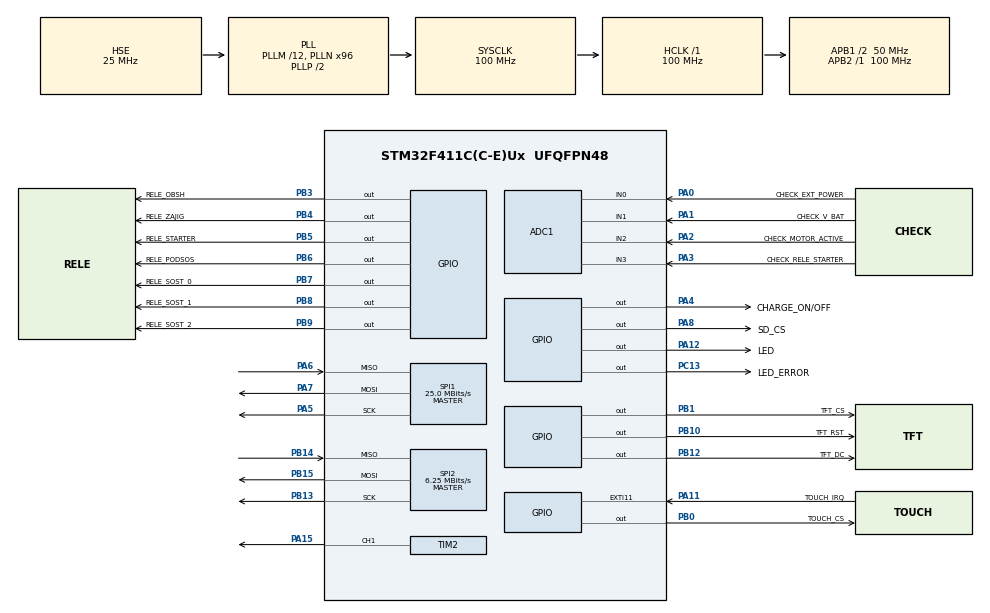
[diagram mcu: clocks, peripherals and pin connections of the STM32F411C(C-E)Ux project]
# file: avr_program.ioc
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ADC1.Channel-0\#ChannelRegularConversion=ADC_CHANNEL_0
ADC1.Channel-1\#ChannelRegularConversion=ADC_CHANNEL_1
ADC1.Channel-2\#ChannelRegularConversion=ADC_CHANNEL_2
ADC1.Channel-3\#ChannelRegularConversion=ADC_CHANNEL_3
ADC1.Channel-4\#ChannelRegularConversion=ADC_CHANNEL_TEMPSENSOR
ADC1.Channel-5\#ChannelRegularConversion=ADC_CHANNEL_VREFINT
ADC1.ContinuousConvMode=DISABLE
ADC1.InjNumberOfConversion=0
ADC1.NbrOfConversion=6
ADC1.NbrOfConversionFlag=1
ADC1.Rank-0\#ChannelRegularConversion=1
ADC1.Rank-1\#ChannelRegularConversion=2
ADC1.Rank-2\#ChannelRegularConversion=3
ADC1.Rank-3\#ChannelRegularConversion=4
ADC1.Rank-4\#ChannelRegularConversion=5
ADC1.Rank-5\#ChannelRegularConversion=6
ADC1.SamplingTime-0\#ChannelRegularConversion=ADC_SAMPLETIME_28CYCLES
ADC1.SamplingTime-1\#ChannelRegularConversion=ADC_SAMPLETIME_28CYCLES
ADC1.SamplingTime-2\#ChannelRegularConversion=ADC_SAMPLETIME_28CYCLES
ADC1.SamplingTime-3\#ChannelRegularConversion=ADC_SAMPLETIME_28CYCLES
ADC1.SamplingTime-4\#ChannelRegularConversion=ADC_SAMPLETIME_144CYCLES
ADC1.SamplingTime-5\#ChannelRegularConversion=ADC_SAMPLETIME_144CYCLES
ADC1.master=1
Dma.ADC1.0.Direction=DMA_PERIPH_TO_MEMORY
Dma.ADC1.0.FIFOMode=DMA_FIFOMODE_DISABLE
Dma.ADC1.0.Instance=DMA2_Stream0
Dma.ADC1.0.MemDataAlignment=DMA_MDATAALIGN_HALFWORD
Dma.ADC1.0.MemInc=DMA_MINC_ENABLE
Dma.ADC1.0.Mode=DMA_NORMAL
Dma.ADC1.0.PeriphDataAlignment=DMA_PDATAALIGN_HALFWORD
Dma.ADC1.0.PeriphInc=DMA_PINC_DISABLE
Dma.ADC1.0.Priority=DMA_PRIORITY_LOW
Dma.Request0=ADC1
FATFS._MAX_SS=4096
FATFS._USE_LFN=1
IWDG.Prescaler=IWDG_PRESCALER_256
IWDG.Reload=250
Mcu.Family=STM32F4
Mcu.Name=STM32F411C(C-E)Ux
Mcu.Package=UFQFPN48
NVIC.DMA2_Stream0_IRQn=true\:0\:0\:false\:false\:true\:false\:true
NVIC.EXTI15_10_IRQn=true\:3\:0\:true\:false\:true\:true\:true
NVIC.PriorityGroup=NVIC_PRIORITYGROUP_4
NVIC.RTC_Alarm_IRQn=true\:2\:0\:true\:false\:true\:true\:true
NVIC.RTC_WKUP_IRQn=true\:1\:0\:true\:false\:true\:true\:true
PA0-WKUP.GPIO_Label=CHECK_EXT_POWER
PA0-WKUP.Signal=SharedAnalog_PA0
PA1.GPIO_Label=CHECK_V_BAT
PA1.Signal=SharedAnalog_PA1
PA10.Signal=USART1_RX
PA11.GPIO_Label=TOUCH_IRQ
PA11.GPIO_ModeDefaultEXTI=GPIO_MODE_IT_RISING_FALLING
PA11.GPIO_PuPd=GPIO_PULLUP
PA11.Signal=GPXTI11
PA12.GPIO_Label=LED
PA12.Signal=GPIO_Output
PA13.Signal=SYS_JTMS-SWDIO
PA14.Signal=SYS_JTCK-SWCLK
PA15.Signal=S_TIM2_CH1_ETR
PA2.GPIO_Label=CHECK_MOTOR_ACTIVE
PA2.Signal=SharedAnalog_PA2
PA3.GPIO_Label=CHECK_RELE_STARTER
PA3.Signal=SharedAnalog_PA3
PA4.GPIO_Label=CHARGE_ON/OFF
PA4.Signal=GPIO_Output
PA5.Mode=Full_Duplex_Master
PA5.Signal=SPI1_SCK
PA6.Mode=Full_Duplex_Master
PA6.Signal=SPI1_MISO
PA7.Mode=Full_Duplex_Master
PA7.Signal=SPI1_MOSI
PA8.GPIO_Label=SD_CS
PA8.Signal=GPIO_Output
PA9.Signal=USART1_TX
PB0.GPIO_Label=TOUCH_CS
PB0.Signal=GPIO_Output
PB1.GPIO_Label=TFT_CS
PB1.Signal=GPIO_Output
PB10.GPIO_Label=TFT_RST
PB10.Signal=GPIO_Output
PB12.GPIO_Label=TFT_DC
PB12.Signal=GPIO_Output
PB13.Mode=Full_Duplex_Master
PB13.Signal=SPI2_SCK
PB14.Mode=Full_Duplex_Master
PB14.Signal=SPI2_MISO
PB15.Mode=Full_Duplex_Master
PB15.Signal=SPI2_MOSI
PB3.GPIO_Label=RELE_OBSH
PB3.Signal=GPIO_Output
PB4.GPIO_Label=RELE_ZAJIG
PB4.Signal=GPIO_Output
PB5.GPIO_Label=RELE_STARTER
PB5.Signal=GPIO_Output
PB6.GPIO_Label=RELE_PODSOS
PB6.Signal=GPIO_Output
PB7.GPIO_Label=RELE_SOST_0
PB7.Signal=GPIO_Output
PB8.GPIO_Label=RELE_SOST_1
PB8.Signal=GPIO_Output
PB9.GPIO_Label=RELE_SOST_2
PB9.Signal=GPIO_Output
PC13-ANTI_TAMP.GPIO_Label=LED_ERROR
PC13-ANTI_TAMP.Signal=GPIO_Output
PC14-OSC32_IN.Mode=LSE-External-Oscillator
PC14-OSC32_IN.Signal=RCC_OSC32_IN
PC15-OSC32_OUT.Mode=LSE-External-Oscillator
PC15-OSC32_OUT.Signal=RCC_OSC32_OUT
PH0\ -\ OSC_IN.Mode=HSE-External-Oscillator
PH0\ -\ OSC_IN.Signal=RCC_OSC_IN
PH1\ -\ OSC_OUT.Mode=HSE-External-Oscillator
PH1\ -\ OSC_OUT.Signal=RCC_OSC_OUT
ProjectManager.HeapSize=0x200
ProjectManager.StackSize=0x400
ProjectManager.TargetToolchain=MDK-ARM V5.27
RCC.48MHZClocksFreq_Value=50000000
RCC.AHBFreq_Value=100000000
RCC.APB1CLKDivider=RCC_HCLK_DIV2
RCC.APB1Freq_Value=50000000
RCC.APB1TimFreq_Value=100000000
RCC.APB2Freq_Value=100000000
RCC.APB2TimFreq_Value=100000000
RCC.CortexFreq_Value=100000000
RCC.HCLKFreq_Value=100000000
RCC.HSE_VALUE=25000000
RCC.HSI_VALUE=16000000
RCC.PLLM=12
RCC.PLLN=96
RCC.PLLSourceVirtual=RCC_PLLSOURCE_HSE
RCC.RCC_RTC_Clock_Source=RCC_RTCCLKSOURCE_LSE
RCC.RCC_RTC_Clock_SourceVirtual=RCC_RTCCLKSOURCE_LSE
RCC.SYSCLKFreq_VALUE=100000000
RCC.SYSCLKSource=RCC_SYSCLKSOURCE_PLLCLK
RCC.VCOOutputFreq_Value=200000000
RTC.Alarm=RTC_ALARM_A
RTC.AlarmDateWeekDaySel=RTC_ALARMDATEWEEKDAYSEL_WEEKDAY
RTC.AlarmMaskDateWeekDay=RTC_ALARMMASK_DATEWEEKDAY
RTC.AlarmSubSecondMask=RTC_ALARMSUBSECONDMASK_ALL
RTC.Format=RTC_FORMAT_BIN
RTC.Hours=12
RTC.Month=RTC_MONTH_SEPTEMBER
RTC.WakeUpClock=RTC_WAKEUPCLOCK_CK_SPRE_16BITS
RTC.WakeUpCounter=28
RTC.WeekDay=RTC_WEEKDAY_TUESDAY
RTC.Year=26
SH.S_TIM2_CH1_ETR.0=TIM2_CH1,PWM Generation1 CH1
SH.SharedAnalog_PA0.0=GPIO_Analog
SH.SharedAnalog_PA0.1=ADC1_IN0,IN0
SH.SharedAnalog_PA1.0=GPIO_Analog
SH.SharedAnalog_PA1.1=ADC1_IN1,IN1
SH.SharedAnalog_PA2.0=GPIO_Analog
SH.SharedAnalog_PA2.1=ADC1_IN2,IN2
SH.SharedAnalog_PA3.0=GPIO_Analog
SH.SharedAnalog_PA3.1=ADC1_IN3,IN3
SPI1.BaudRatePrescaler=SPI_BAUDRATEPRESCALER_4
SPI1.CalculateBaudRate=25.0 MBits/s
SPI1.Direction=SPI_DIRECTION_2LINES
SPI1.Mode=SPI_MODE_MASTER
SPI1.VirtualType=VM_MASTER
SPI2.BaudRatePrescaler=SPI_BAUDRATEPRESCALER_8
SPI2.CalculateBaudRate=6.25 MBits/s
SPI2.Direction=SPI_DIRECTION_2LINES
SPI2.Mode=SPI_MODE_MASTER
SPI2.VirtualType=VM_MASTER
TIM2.Channel-PWM\ Generation1\ CH1=TIM_CHANNEL_1
TIM2.OCPolarity_1=TIM_OCPOLARITY_LOW
TIM2.Period=1000
TIM2.Prescaler=50000
VP_ADC1_TempSens_Input.Mode=IN-TempSens
VP_ADC1_Vref_Input.Mode=IN-Vrefint
VP_FATFS_VS_Generic.Mode=User_defined
VP_IWDG_VS_IWDG.Mode=IWDG_Activate
VP_RTC_VS_RTC_Activate.Mode=RTC_Enabled
VP_RTC_VS_RTC_Alarm_A_Intern.Mode=Alarm A
VP_RTC_VS_RTC_Calendar.Mode=RTC_Calendar
VP_RTC_VS_RTC_WakeUp_intern.Mode=WakeUp
board=custom

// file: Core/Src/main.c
/* USER CODE BEGIN Header */
/**
  ******************************************************************************
  * @file           : main.c
  * @brief          : Main program body
  ******************************************************************************
  * @attention
  *
  * <h2><center>&copy; Copyright (c) 2026 STMicroelectronics.
  * All rights reserved.</center></h2>
  *
  * This software component is licensed by ST under BSD 3-Clause license,
  * the "License"; You may not use this file except in compliance with the
  * License. You may obtain a copy of the License at:
  *                        opensource.org/licenses/BSD-3-Clause
  *
  ******************************************************************************
  */
/* USER CODE END Header */
#include "main.h"
#include "fatfs.h"

/* USER CODE BEGIN Includes */
#include <stdio.h>
/* USER CODE END Includes */

/* USER CODE BEGIN PTD */
typedef struct
{
	volatile uint32_t r0;
	volatile uint32_t r1;
	volatile uint32_t r2;
	volatile uint32_t r3;
	volatile uint32_t r12;
	volatile uint32_t lr; /* Link register. */
	volatile uint32_t pc; /* Program counter. */
	volatile uint32_t psr;/* Program status register. */
}stack_bit; // (SP)

stack_bit stack = {0, };
/* USER CODE END PTD */

ADC_HandleTypeDef hadc1;
DMA_HandleTypeDef hdma_adc1;

IWDG_HandleTypeDef hiwdg;

RTC_HandleTypeDef hrtc;

SPI_HandleTypeDef hspi1;
SPI_HandleTypeDef hspi2;

TIM_HandleTypeDef htim2;

/* USER CODE BEGIN PV */

RTC_TimeTypeDef sTime = {0};
RTC_DateTypeDef DateToUpdate = {0};

Device_Type AVR;     // прибор с его характеристиками и параметрами
struct Device_Type *pAVR = &AVR;

/* USER CODE END PV */

void SystemClock_Config(void);
static void MX_GPIO_Init(void);
static void MX_DMA_Init(void);
static void MX_ADC1_Init(void);
static void MX_SPI1_Init(void);
static void MX_SPI2_Init(void);
static void MX_TIM2_Init(void);
static void MX_RTC_Init(void);
static void MX_IWDG_Init(void);

int main(void)
{

  /* MCU Configuration--------------------------------------------------------*/

  /* Reset of all peripherals, Initializes the Flash interface and the Systick. */
  HAL_Init();

  /* Configure the system clock */
  SystemClock_Config();

  /* Initialize all configured peripherals */
  MX_GPIO_Init();
  MX_DMA_Init();
  MX_ADC1_Init();
  MX_SPI1_Init();
  MX_SPI2_Init();
  MX_TIM2_Init();
  MX_RTC_Init();
  MX_FATFS_Init();
  MX_IWDG_Init();
  /* USER CODE BEGIN 2 */

	initDevice();

	// небольшая пауза на случай показа ошибки
	IWDG->KR = 0xAAAA;
	HAL_Delay(1000);
	IWDG->KR = 0xAAAA;
	HAL_Delay(1000);
	IWDG->KR = 0xAAAA;
	HAL_Delay(500);
	IWDG->KR = 0xAAAA;

  /* USER CODE END 2 */

  /* Infinite loop */
  /* USER CODE BEGIN WHILE */
	extern time_t powerOutageTime;	// время отключения эл-ва
  while (1)
  {
		work();

		//HAL_IWDG_Refresh(&hiwdg);	// отмена ресета
		IWDG->KR = 0xAAAA;					// отмена ресета

		// если экран погашен и двигатель заглушен и не включена зарядка - сон на 28 сек
		// в ближайшее время после отключения не уснет
		if((BRIGHTNESS_GET_TFT == NULL_BRIGHTNESS) &&
				((pAVR->engine.status == ENGINE_STOPPED) || (pAVR->engine.status == ENGINE_TIMEOUT)) &&
				(!pAVR->avr_states.flagCharge) &&
				((realToUnix() - powerOutageTime) > (TIME_NO_EXT_POWER_ENGINE_OFF+2)))
		{
			// Если система выходит из режима Standby/Sleep по изменению на выводе WKUP (SYS_WKUP),
			// перед следующим входом в этот режим необходимо программно сбросить флаг PWR_FLAG_WU в регистре PWR_CSR.
			__HAL_PWR_CLEAR_FLAG(PWR_FLAG_WU);

			// Если пробуждение происходит по таймеру RTC, нужно сбросить флаг
			__HAL_RTC_WAKEUPTIMER_CLEAR_FLAG(&hrtc, RTC_FLAG_WUTF);

			// настройка WakeUp срабатывание раз в 28сек
			if(HAL_RTCEx_SetWakeUpTimer_IT(&hrtc, 28, RTC_WAKEUPCLOCK_CK_SPRE_16BITS) == HAL_OK)
			{
				IWDG->KR = 0xAAAA;
				#ifndef ___DEBUG
					// если низкий разряд акб - выключить светодиоды
					if(pAVR->v_t.v_bat <= U_AKB_MIN_1)
					{
						LED_OFF();
						LED_ERROR_OFF();

						// если нет внешнего питания и двигатель заглушен - выключить релюхи силового автомата
						if(pAVR->avr_states.extPowerSupply == EXT_POWER_OFF)
						{
							switchPowerCircuitBreaker(POWER_IS_OFF);
						}
					}

					// перенастройка вачдога на ~32 секунды
					IWDG_Reconfigure(6, 4095);

					// вход в сон
					__HAL_RCC_DMA2_CLK_DISABLE();
					__HAL_RCC_ADC1_CLK_DISABLE();
					__HAL_RCC_SPI1_CLK_DISABLE();

					// PWR_LOWPOWERREGULATOR_ON — регулятор напряжения работает в режиме пониженного энергопотребления, но возникает дополнительная задержка при выходе из режима.
					// PWR_MAINREGULATOR_ON — регулятор напряжения работает в обычном режиме. Потребление энергии увеличивается, но время выхода из режима сокращается.
					// PWR_SLEEPENTRY_WFI — (Wait for Interrupt) — выход из режима произойдёт при возникновении прерывания.
					// PWR_SLEEPENTRY_WFE — (Wait for Event) — выход из режима произойдёт при возникновении события.
					HAL_PWR_EnterSTOPMode(PWR_LOWPOWERREGULATOR_ON, PWR_STOPENTRY_WFI);
					// после wakeup'а программа стартует отсюда
					SystemClock_Config(); // рестартуем системный клок

					// обратная перенастройка вачдога на 2с
					IWDG_Reconfigure(6, 250);

					HAL_RTCEx_DeactivateWakeUpTimer(&hrtc);	// остановить WakeUp

					__HAL_RCC_DMA2_CLK_ENABLE();
					__HAL_RCC_ADC1_CLK_ENABLE();
					__HAL_RCC_SPI1_CLK_ENABLE();

				#endif
			}
		}

    /* USER CODE END WHILE */

  }
}

void SystemClock_Config(void)
{
  RCC_OscInitTypeDef RCC_OscInitStruct = {0};
  RCC_ClkInitTypeDef RCC_ClkInitStruct = {0};
  RCC_PeriphCLKInitTypeDef PeriphClkInitStruct = {0};

  /** Configure the main internal regulator output voltage
  */
  __HAL_RCC_PWR_CLK_ENABLE();
  __HAL_PWR_VOLTAGESCALING_CONFIG(PWR_REGULATOR_VOLTAGE_SCALE1);
  /** Initializes the RCC Oscillators according to the specified parameters
  * in the RCC_OscInitTypeDef structure.
  */
  RCC_OscInitStruct.OscillatorType = RCC_OSCILLATORTYPE_LSI|RCC_OSCILLATORTYPE_HSE
                              |RCC_OSCILLATORTYPE_LSE;
  RCC_OscInitStruct.HSEState = RCC_HSE_ON;
  RCC_OscInitStruct.LSEState = RCC_LSE_ON;
  RCC_OscInitStruct.LSIState = RCC_LSI_ON;
  RCC_OscInitStruct.PLL.PLLState = RCC_PLL_ON;
  RCC_OscInitStruct.PLL.PLLSource = RCC_PLLSOURCE_HSE;
  RCC_OscInitStruct.PLL.PLLM = 12;
  RCC_OscInitStruct.PLL.PLLN = 96;
  RCC_OscInitStruct.PLL.PLLP = RCC_PLLP_DIV2;
  RCC_OscInitStruct.PLL.PLLQ = 4;
  if (HAL_RCC_OscConfig(&RCC_OscInitStruct) != HAL_OK)
  {
    Error_Handler();
  }
  /** Initializes the CPU, AHB and APB buses clocks
  */
  RCC_ClkInitStruct.ClockType = RCC_CLOCKTYPE_HCLK|RCC_CLOCKTYPE_SYSCLK
                              |RCC_CLOCKTYPE_PCLK1|RCC_CLOCKTYPE_PCLK2;
  RCC_ClkInitStruct.SYSCLKSource = RCC_SYSCLKSOURCE_PLLCLK;
  RCC_ClkInitStruct.AHBCLKDivider = RCC_SYSCLK_DIV1;
  RCC_ClkInitStruct.APB1CLKDivider = RCC_HCLK_DIV2;
  RCC_ClkInitStruct.APB2CLKDivider = RCC_HCLK_DIV1;

  if (HAL_RCC_ClockConfig(&RCC_ClkInitStruct, FLASH_LATENCY_3) != HAL_OK)
  {
    Error_Handler();
  }
  PeriphClkInitStruct.PeriphClockSelection = RCC_PERIPHCLK_RTC;
  PeriphClkInitStruct.RTCClockSelection = RCC_RTCCLKSOURCE_LSE;
  if (HAL_RCCEx_PeriphCLKConfig(&PeriphClkInitStruct) != HAL_OK)
  {
    Error_Handler();
  }
}

static void MX_ADC1_Init(void)
{

  ADC_ChannelConfTypeDef sConfig = {0};

  /** Configure the global features of the ADC (Clock, Resolution, Data Alignment and number of conversion)
  */
  hadc1.Instance = ADC1;
  hadc1.Init.ClockPrescaler = ADC_CLOCK_SYNC_PCLK_DIV4;
  hadc1.Init.Resolution = ADC_RESOLUTION_12B;
  hadc1.Init.ScanConvMode = ENABLE;
  hadc1.Init.ContinuousConvMode = DISABLE;
  hadc1.Init.DiscontinuousConvMode = DISABLE;
  hadc1.Init.ExternalTrigConvEdge = ADC_EXTERNALTRIGCONVEDGE_NONE;
  hadc1.Init.ExternalTrigConv = ADC_SOFTWARE_START;
  hadc1.Init.DataAlign = ADC_DATAALIGN_RIGHT;
  hadc1.Init.NbrOfConversion = 6;
  hadc1.Init.DMAContinuousRequests = DISABLE;
  hadc1.Init.EOCSelection = ADC_EOC_SINGLE_CONV;
  if (HAL_ADC_Init(&hadc1) != HAL_OK)
  {
    Error_Handler();
  }
  /** Configure for the selected ADC regular channel its corresponding rank in the sequencer and its sample time.
  */
  sConfig.Channel = ADC_CHANNEL_0;
  sConfig.Rank = 1;
  sConfig.SamplingTime = ADC_SAMPLETIME_28CYCLES;
  if (HAL_ADC_ConfigChannel(&hadc1, &sConfig) != HAL_OK)
  {
    Error_Handler();
  }
  /** Configure for the selected ADC regular channel its corresponding rank in the sequencer and its sample time.
  */
  sConfig.Channel = ADC_CHANNEL_1;
  sConfig.Rank = 2;
  if (HAL_ADC_ConfigChannel(&hadc1, &sConfig) != HAL_OK)
  {
    Error_Handler();
  }
  /** Configure for the selected ADC regular channel its corresponding rank in the sequencer and its sample time.
  */
  sConfig.Channel = ADC_CHANNEL_2;
  sConfig.Rank = 3;
  if (HAL_ADC_ConfigChannel(&hadc1, &sConfig) != HAL_OK)
  {
    Error_Handler();
  }
  /** Configure for the selected ADC regular channel its corresponding rank in the sequencer and its sample time.
  */
  sConfig.Channel = ADC_CHANNEL_3;
  sConfig.Rank = 4;
  if (HAL_ADC_ConfigChannel(&hadc1, &sConfig) != HAL_OK)
  {
    Error_Handler();
  }
  /** Configure for the selected ADC regular channel its corresponding rank in the sequencer and its sample time.
  */
  sConfig.Channel = ADC_CHANNEL_TEMPSENSOR;
  sConfig.Rank = 5;
  sConfig.SamplingTime = ADC_SAMPLETIME_144CYCLES;
  if (HAL_ADC_ConfigChannel(&hadc1, &sConfig) != HAL_OK)
  {
    Error_Handler();
  }
  /** Configure for the selected ADC regular channel its corresponding rank in the sequencer and its sample time.
  */
  sConfig.Channel = ADC_CHANNEL_VREFINT;
  sConfig.Rank = 6;
  if (HAL_ADC_ConfigChannel(&hadc1, &sConfig) != HAL_OK)
  {
    Error_Handler();
  }

}

static void MX_IWDG_Init(void)
{

  /* USER CODE BEGIN IWDG_Init 0 */

	// WDG тактируется от LSI RC (32кГц),
	// 32кГц / 256 = 125 тиков в секунду,
	// 250 / 125 = 2 сек.
	// Если мы не сбросим счётчик в течении этого времени, то он обресетит МК.
	// HAL_IWDG_Refresh(&hiwdg); // сброс WatchDog'а

  /* USER CODE END IWDG_Init 0 */

  /* USER CODE BEGIN IWDG_Init 1 */

	#ifdef ___DEBUG
		return;
	#endif
  /* USER CODE END IWDG_Init 1 */
  hiwdg.Instance = IWDG;
  hiwdg.Init.Prescaler = IWDG_PRESCALER_256;
  hiwdg.Init.Reload = 250;
  if (HAL_IWDG_Init(&hiwdg) != HAL_OK)
  {
    Error_Handler();
  }

}

static void MX_RTC_Init(void)
{

  RTC_TimeTypeDef sTime = {0};
  RTC_DateTypeDef sDate = {0};
  RTC_AlarmTypeDef sAlarm = {0};

  /** Initialize RTC Only
  */
  hrtc.Instance = RTC;
  hrtc.Init.HourFormat = RTC_HOURFORMAT_24;
  hrtc.Init.AsynchPrediv = 127;
  hrtc.Init.SynchPrediv = 255;
  hrtc.Init.OutPut = RTC_OUTPUT_DISABLE;
  hrtc.Init.OutPutPolarity = RTC_OUTPUT_POLARITY_HIGH;
  hrtc.Init.OutPutType = RTC_OUTPUT_TYPE_OPENDRAIN;
  if (HAL_RTC_Init(&hrtc) != HAL_OK)
  {
    Error_Handler();
  }

  /* USER CODE BEGIN Check_RTC_BKUP */

	// инициализировать и выйти, чтоб каждый раз не коментить установку даты и времени

	sAlarm.AlarmTime.Hours = 0;
  sAlarm.AlarmTime.Minutes = 0;
  sAlarm.AlarmTime.Seconds = 0;
  sAlarm.AlarmTime.SubSeconds = 0;
  sAlarm.AlarmTime.DayLightSaving = RTC_DAYLIGHTSAVING_NONE;
  sAlarm.AlarmTime.StoreOperation = RTC_STOREOPERATION_RESET;
  sAlarm.AlarmMask = RTC_ALARMMASK_DATEWEEKDAY;
  sAlarm.AlarmSubSecondMask = RTC_ALARMSUBSECONDMASK_ALL;
  sAlarm.AlarmDateWeekDaySel = RTC_ALARMDATEWEEKDAYSEL_WEEKDAY;
  sAlarm.AlarmDateWeekDay = RTC_WEEKDAY_MONDAY;
  sAlarm.Alarm = RTC_ALARM_A;
  if (HAL_RTC_SetAlarm_IT(&hrtc, &sAlarm, RTC_FORMAT_BIN) != HAL_OK)
  {
    Error_Handler();
  }

	// настройка даты, времени(если необходимо)
	HAL_RTC_GetDate(&hrtc, &DateToUpdate, RTC_FORMAT_BIN);
	if((DateToUpdate.Date == 1) && (DateToUpdate.Month == 1) && (DateToUpdate.Year == 0))
	{
		DateToUpdate.WeekDay = RTC_WEEKDAY_TUESDAY;
		DateToUpdate.Month = RTC_MONTH_SEPTEMBER;
		DateToUpdate.Date = 1;
		DateToUpdate.Year = 26;

		sTime.Hours = 12;
		sTime.Minutes = 0;
		sTime.Seconds = 0;
		sTime.DayLightSaving = RTC_DAYLIGHTSAVING_NONE;
		sTime.StoreOperation = RTC_STOREOPERATION_RESET;

		if (HAL_RTC_SetTime(&hrtc, &sTime, RTC_FORMAT_BIN) != HAL_OK)	Error_Handler();
		if (HAL_RTC_SetDate(&hrtc, &DateToUpdate, RTC_FORMAT_BIN) != HAL_OK)	Error_Handler();
	}

	return;

  /* USER CODE END Check_RTC_BKUP */

  /** Initialize RTC and set the Time and Date
  */
  sTime.Hours = 12;
  sTime.Minutes = 0;
  sTime.Seconds = 0;
  sTime.DayLightSaving = RTC_DAYLIGHTSAVING_NONE;
  sTime.StoreOperation = RTC_STOREOPERATION_RESET;
  if (HAL_RTC_SetTime(&hrtc, &sTime, RTC_FORMAT_BIN) != HAL_OK)
  {
    Error_Handler();
  }
  sDate.WeekDay = RTC_WEEKDAY_TUESDAY;
  sDate.Month = RTC_MONTH_SEPTEMBER;
  sDate.Date = 1;
  sDate.Year = 26;

  if (HAL_RTC_SetDate(&hrtc, &sDate, RTC_FORMAT_BIN) != HAL_OK)
  {
    Error_Handler();
  }
  /** Enable the Alarm A
  */
  sAlarm.AlarmTime.Hours = 0;
  sAlarm.AlarmTime.Minutes = 0;
  sAlarm.AlarmTime.Seconds = 0;
  sAlarm.AlarmTime.SubSeconds = 0;
  sAlarm.AlarmTime.DayLightSaving = RTC_DAYLIGHTSAVING_NONE;
  sAlarm.AlarmTime.StoreOperation = RTC_STOREOPERATION_RESET;
  sAlarm.AlarmMask = RTC_ALARMMASK_DATEWEEKDAY;
  sAlarm.AlarmSubSecondMask = RTC_ALARMSUBSECONDMASK_ALL;
  sAlarm.AlarmDateWeekDaySel = RTC_ALARMDATEWEEKDAYSEL_WEEKDAY;
  sAlarm.AlarmDateWeekDay = RTC_WEEKDAY_MONDAY;
  sAlarm.Alarm = RTC_ALARM_A;
  if (HAL_RTC_SetAlarm_IT(&hrtc, &sAlarm, RTC_FORMAT_BIN) != HAL_OK)
  {
    Error_Handler();
  }
  /** Enable the WakeUp
  */
  if (HAL_RTCEx_SetWakeUpTimer_IT(&hrtc, 28, RTC_WAKEUPCLOCK_CK_SPRE_16BITS) != HAL_OK)
  {
    Error_Handler();
  }

}

static void MX_SPI1_Init(void)
{

  /* SPI1 parameter configuration*/
  hspi1.Instance = SPI1;
  hspi1.Init.Mode = SPI_MODE_MASTER;
  hspi1.Init.Direction = SPI_DIRECTION_2LINES;
  hspi1.Init.DataSize = SPI_DATASIZE_8BIT;
  hspi1.Init.CLKPolarity = SPI_POLARITY_LOW;
  hspi1.Init.CLKPhase = SPI_PHASE_1EDGE;
  hspi1.Init.NSS = SPI_NSS_SOFT;
  hspi1.Init.BaudRatePrescaler = SPI_BAUDRATEPRESCALER_4;
  hspi1.Init.FirstBit = SPI_FIRSTBIT_MSB;
  hspi1.Init.TIMode = SPI_TIMODE_DISABLE;
  hspi1.Init.CRCCalculation = SPI_CRCCALCULATION_DISABLE;
  hspi1.Init.CRCPolynomial = 10;
  if (HAL_SPI_Init(&hspi1) != HAL_OK)
  {
    Error_Handler();
  }

}

static void MX_SPI2_Init(void)
{

  /* SPI2 parameter configuration*/
  hspi2.Instance = SPI2;
  hspi2.Init.Mode = SPI_MODE_MASTER;
  hspi2.Init.Direction = SPI_DIRECTION_2LINES;
  hspi2.Init.DataSize = SPI_DATASIZE_8BIT;
  hspi2.Init.CLKPolarity = SPI_POLARITY_LOW;
  hspi2.Init.CLKPhase = SPI_PHASE_1EDGE;
  hspi2.Init.NSS = SPI_NSS_SOFT;
  hspi2.Init.BaudRatePrescaler = SPI_BAUDRATEPRESCALER_8;
  hspi2.Init.FirstBit = SPI_FIRSTBIT_MSB;
  hspi2.Init.TIMode = SPI_TIMODE_DISABLE;
  hspi2.Init.CRCCalculation = SPI_CRCCALCULATION_DISABLE;
  hspi2.Init.CRCPolynomial = 10;
  if (HAL_SPI_Init(&hspi2) != HAL_OK)
  {
    Error_Handler();
  }

}

static void MX_TIM2_Init(void)
{

  TIM_MasterConfigTypeDef sMasterConfig = {0};
  TIM_OC_InitTypeDef sConfigOC = {0};

  htim2.Instance = TIM2;
  htim2.Init.Prescaler = 50000;
  htim2.Init.CounterMode = TIM_COUNTERMODE_UP;
  htim2.Init.Period = 1000;
  htim2.Init.ClockDivision = TIM_CLOCKDIVISION_DIV1;
  htim2.Init.AutoReloadPreload = TIM_AUTORELOAD_PRELOAD_DISABLE;
  if (HAL_TIM_PWM_Init(&htim2) != HAL_OK)
  {
    Error_Handler();
  }
  sMasterConfig.MasterOutputTrigger = TIM_TRGO_RESET;
  sMasterConfig.MasterSlaveMode = TIM_MASTERSLAVEMODE_DISABLE;
  if (HAL_TIMEx_MasterConfigSynchronization(&htim2, &sMasterConfig) != HAL_OK)
  {
    Error_Handler();
  }
  sConfigOC.OCMode = TIM_OCMODE_PWM1;
  sConfigOC.Pulse = 0;
  sConfigOC.OCPolarity = TIM_OCPOLARITY_LOW;
  sConfigOC.OCFastMode = TIM_OCFAST_DISABLE;
  if (HAL_TIM_PWM_ConfigChannel(&htim2, &sConfigOC, TIM_CHANNEL_1) != HAL_OK)
  {
    Error_Handler();
  }
  HAL_TIM_MspPostInit(&htim2);

}

static void MX_DMA_Init(void)
{

  /* DMA controller clock enable */
  __HAL_RCC_DMA2_CLK_ENABLE();

  /* DMA interrupt init */
  /* DMA2_Stream0_IRQn interrupt configuration */
  HAL_NVIC_SetPriority(DMA2_Stream0_IRQn, 0, 0);
  HAL_NVIC_EnableIRQ(DMA2_Stream0_IRQn);

}

static void MX_GPIO_Init(void)
{
  GPIO_InitTypeDef GPIO_InitStruct = {0};

  /* GPIO Ports Clock Enable */
  __HAL_RCC_GPIOC_CLK_ENABLE();
  __HAL_RCC_GPIOH_CLK_ENABLE();
  __HAL_RCC_GPIOA_CLK_ENABLE();
  __HAL_RCC_GPIOB_CLK_ENABLE();

  /*Configure GPIO pin Output Level */
  HAL_GPIO_WritePin(LED_ERROR_GPIO_Port, LED_ERROR_Pin, GPIO_PIN_RESET);

  /*Configure GPIO pin Output Level */
  HAL_GPIO_WritePin(GPIOA, CHARGE_ON_OFF_Pin|SD_CS_Pin|LED_Pin, GPIO_PIN_RESET);

  /*Configure GPIO pin Output Level */
  HAL_GPIO_WritePin(GPIOB, TOUCH_CS_Pin|TFT_CS_Pin|TFT_RST_Pin|TFT_DC_Pin
                          |RELE_OBSH_Pin|RELE_ZAJIG_Pin|RELE_STARTER_Pin|RELE_PODSOS_Pin
                          |RELE_SOST_0_Pin|RELE_SOST_1_Pin|RELE_SOST_2_Pin, GPIO_PIN_RESET);

  /*Configure GPIO pin : LED_ERROR_Pin */
  GPIO_InitStruct.Pin = LED_ERROR_Pin;
  GPIO_InitStruct.Mode = GPIO_MODE_OUTPUT_PP;
  GPIO_InitStruct.Pull = GPIO_NOPULL;
  GPIO_InitStruct.Speed = GPIO_SPEED_FREQ_LOW;
  HAL_GPIO_Init(LED_ERROR_GPIO_Port, &GPIO_InitStruct);

  /*Configure GPIO pins : CHARGE_ON_OFF_Pin SD_CS_Pin LED_Pin */
  GPIO_InitStruct.Pin = CHARGE_ON_OFF_Pin|SD_CS_Pin|LED_Pin;
  GPIO_InitStruct.Mode = GPIO_MODE_OUTPUT_PP;
  GPIO_InitStruct.Pull = GPIO_NOPULL;
  GPIO_InitStruct.Speed = GPIO_SPEED_FREQ_LOW;
  HAL_GPIO_Init(GPIOA, &GPIO_InitStruct);

  /*Configure GPIO pins : TOUCH_CS_Pin TFT_CS_Pin TFT_RST_Pin TFT_DC_Pin
                           RELE_OBSH_Pin RELE_ZAJIG_Pin RELE_STARTER_Pin RELE_PODSOS_Pin
                           RELE_SOST_0_Pin RELE_SOST_1_Pin RELE_SOST_2_Pin */
  GPIO_InitStruct.Pin = TOUCH_CS_Pin|TFT_CS_Pin|TFT_RST_Pin|TFT_DC_Pin
                          |RELE_OBSH_Pin|RELE_ZAJIG_Pin|RELE_STARTER_Pin|RELE_PODSOS_Pin
                          |RELE_SOST_0_Pin|RELE_SOST_1_Pin|RELE_SOST_2_Pin;
  GPIO_InitStruct.Mode = GPIO_MODE_OUTPUT_PP;
  GPIO_InitStruct.Pull = GPIO_NOPULL;
  GPIO_InitStruct.Speed = GPIO_SPEED_FREQ_LOW;
  HAL_GPIO_Init(GPIOB, &GPIO_InitStruct);

  /*Configure GPIO pins : PA9 PA10 */
  GPIO_InitStruct.Pin = GPIO_PIN_9|GPIO_PIN_10;
  GPIO_InitStruct.Mode = GPIO_MODE_AF_PP;
  GPIO_InitStruct.Pull = GPIO_NOPULL;
  GPIO_InitStruct.Speed = GPIO_SPEED_FREQ_VERY_HIGH;
  GPIO_InitStruct.Alternate = GPIO_AF7_USART1;
  HAL_GPIO_Init(GPIOA, &GPIO_InitStruct);

  /*Configure GPIO pin : TOUCH_IRQ_Pin */
  GPIO_InitStruct.Pin = TOUCH_IRQ_Pin;
  GPIO_InitStruct.Mode = GPIO_MODE_IT_RISING_FALLING;
  GPIO_InitStruct.Pull = GPIO_PULLUP;
  HAL_GPIO_Init(TOUCH_IRQ_GPIO_Port, &GPIO_InitStruct);

  /* EXTI interrupt init*/
  HAL_NVIC_SetPriority(EXTI15_10_IRQn, 3, 0);
  HAL_NVIC_EnableIRQ(EXTI15_10_IRQn);

}

/* USER CODE BEGIN 4 */
void HAL_ADC_ConvCpltCallback(ADC_HandleTypeDef* hadc)
{
	if(hadc->Instance == ADC1)
			HAL_ADC_Stop_DMA(&hadc1);
}

void HAL_GPIO_EXTI_Callback(uint16_t GPIO_Pin)
{
	// прерывание при нажатии/отпускании экрана
	if (GPIO_Pin == TOUCH_IRQ_Pin) {
			if((TOUCH_IRQ_GPIO_Port->IDR & GPIO_Pin) != (uint32_t)GPIO_PIN_RESET){
				if(!pAVR->touch.flag_release){
						pAVR->touch.flag_release = SET;			// отпущен
				}
			}
			// если нажато на экран
			else {
				if(BRIGHTNESS_GET_TFT == NULL_BRIGHTNESS)
				{
					pAVR->touch.time_press = HAL_GetTick();
					ledTFT_ON_OFF(SET);
					return;
				}
				if(!pAVR->touch.flag_press){
					pAVR->touch.flag_press = SET;				// нажат
					pAVR->touch.time_press = HAL_GetTick();
				}
			}
	}
}

// будильник, срабатывает в 00:00
void HAL_RTC_AlarmAEventCallback(RTC_HandleTypeDef *hrtc)
{
   pAVR->avr_states.flagSaveInfoSD = SET;		// необходимо сохранить всю инфу на флеш
}

void HAL_RTCEx_WakeUpTimerEventCallback(RTC_HandleTypeDef *hrtc)
{

}

void set_BKP0R(uint32_t signature)
{
	RCC->APB1ENR |= RCC_APB1ENR_PWREN;
	PWR->CR |= PWR_CR_DBP;
	RTC->BKP0R = signature;
//	RCC->APB1ENR &= ~RCC_APB1ENR_PWREN;
//	PWR->CR &= ~PWR_CR_DBP;
//	RCC->CFGR &= ~RCC_CFGR_SW;
//	RCC->CR &= ~RCC_CR_PLLON;
//	RCC->CR &= ~RCC_CR_HSEON;
}

// перенастройка IWDG (изменение времени до сброса)
// prescaler (0..7)
// reload (0..4095)
uint8_t IWDG_Reconfigure(uint8_t prescaler, uint16_t reload)
{
	// Разрешить тактирование
	IWDG->KR = 0xCCCC;
	// Открыть доступ к регистрам
	IWDG->KR = 0x5555;
	// дождаться готовности регистров
	// жду сброса RVU для RLR и PVU для PR
	while((IWDG->SR & (IWDG_SR_RVU | IWDG_SR_PVU)) != 0)
	{
		// ожидание аппаратной синхронизации обычно занимает несколько LSI циклов
		// по хорошему надо проверить тактирование LSI
	}

	// новое значение предделителя
	IWDG->PR = prescaler;
	// Установить начальное значение счётчика (RL)
	IWDG->RLR = reload;

	// дождаться завершения обновления (сброс RVU/PVU)
	while((IWDG->SR & (IWDG_SR_RVU | IWDG_SR_PVU)) != 0)
	{
	}

	// Закрыть доступ
	IWDG->KR = 0x0000;

	// Сразу после запуска «перезагрузить» счётчик
	IWDG->KR = 0xAAAA;

	return 1;
}

void _Error_Handler(char * s, int i)
{
//	char buf[30] = {0,};
//	snprintf(buf, 30, "%s", s);
	int num = i;

	if (CoreDebug->DHCSR & 1) {  //check C_DEBUGEN == 1 -> Debugger Connected
      __breakpoint(0);  // halt program execution here
  }
	setErr(ERR_SD_CARD);
}

void prvGetRegistersFromStack( uint32_t *pulFaultStackAddress )
{
	stack.r0 = pulFaultStackAddress[ 0 ];
	stack.r1 = pulFaultStackAddress[ 1 ];
	stack.r2 = pulFaultStackAddress[ 2 ];
	stack.r3 = pulFaultStackAddress[ 3 ];

	stack.r12 = pulFaultStackAddress[ 4 ];
	stack.lr = pulFaultStackAddress[ 5 ];
	stack.pc = pulFaultStackAddress[ 6 ];
	stack.psr = pulFaultStackAddress[ 7 ];

		if (CoreDebug->DHCSR & 1) {  //check C_DEBUGEN == 1 -> Debugger Connected
      __breakpoint(0);  // halt program execution here
  }

	NVIC_SystemReset();
}

/* USER CODE END 4 */

void Error_Handler(void)
{
  /* USER CODE BEGIN Error_Handler_Debug */
  /* User can add his own implementation to report the HAL error return state */

	__disable_irq();

	set_BKP0R(U_CONFIG_HARD_FAULT_SIGNATURE);

	 __asm volatile
	(
			" tst lr, #4                                                \n"
			" ite eq                                                    \n"
			" mrseq r0, msp                                             \n"
			" mrsne r0, psp                                             \n"
			" ldr r1, [r0, #24]                                         \n"
			" ldr r2, handler2_address_const                            \n"
			" bx r2                                                     \n"
			" handler2_address_const: .word prvGetRegistersFromStack    \n"
	);

  while (1)
  {
  }
  /* USER CODE END Error_Handler_Debug */
}

/************************ (C) COPYRIGHT STMicroelectronics *****END OF FILE****/
